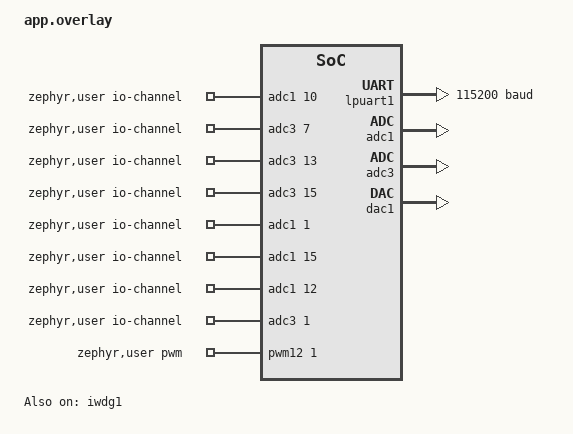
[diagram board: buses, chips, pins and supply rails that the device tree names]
/ {
    aliases {
        watchdog0 = &iwdg1;
    };

    chosen {
        zephyr,console = &lpuart1;
        zephyr,shell-uart = &lpuart1;
        zephyr,crc = &crc;
        zephyr,code-partition = &slot0_partition;
    };

    zephyr,user {
        io-channels =
            <&adc1 10>,  /* 0: PUMP-ADC (ADC1_INP10) */
            <&adc3 7>,   /* 1: FORCE-ADC(1) (ADC3_INP7) */
            <&adc3 13>,  /* 2: FORCE-ADC(2) (ADC3_INP13) */
            <&adc3 15>,  /* 3: FORCE-ADC(3) (ADC3_INP15) */
            <&adc1 1>,   /* 4: TEMP-FD-ADC (ADC1_INP1) */
            <&adc1 15>,  /* 5: TEMP-MB-ADC (ADC1_INP15) */
            <&adc1 12>,  /* 6: ADC1_INP12 */
            <&adc3 1>;   /* 7: ADC3_INP1 */

        dac = <&dac1>;
        dac_channel_id = <0>;     /* 0 => OUT1 in Zephyr STM32 DAC driver */
        dac_resolution = <12>;

        pwms =
            <&pwm12 1 PWM_MSEC(20) PWM_POLARITY_NORMAL>;
    };

};

&iwdg1 {
    status = "okay";
};

&lpuart1 {
    status = "okay";
    current-speed = <115200>;
};


&adc1 {
    status = "okay";
    st,adc-clock-source = "SYNC";
    st,adc-prescaler = <1>;
};

&adc3 {
    status = "okay";
    st,adc-clock-source = "SYNC";
    st,adc-prescaler = <1>;
};

&dac1 {
    status = "okay";
};

/*
 * MCUboot flash partitions (2MB M7 flash @ 0x08000000, SWAP_USING_OFFSET).
 *
 * Remove ranges from flash0 to prevent DT_FIXED_PARTITION_ADDR from
 * double-adding the flash base address (STM32H745 DTS ranges bug).
 *
 * SWAP_USING_OFFSET: first 128KB sector of slot1 is swap scratch;
 * actual image data starts at slot1 offset 0x20000.
 */
&flash0 {
    /delete-property/ ranges;
    reg = <0x08000000 DT_SIZE_K(2048)>;

    partitions {
        compatible = "fixed-partitions";
        #address-cells = <1>;
        #size-cells = <1>;
        ranges;

        boot_partition: partition@0 {
            label = "mcuboot";
            reg = <0x00000000 DT_SIZE_K(128)>;
            read-only;
        };

        slot0_partition: partition@20000 {
            label = "image-0";
            reg = <0x00020000 DT_SIZE_K(512)>;
        };

        slot1_partition: partition@A0000 {
            label = "image-1";
            reg = <0x000A0000 DT_SIZE_K(512)>;
        };

        storage_partition: partition@120000 {
            label = "storage";
            reg = <0x00120000 DT_SIZE_K(128)>;
        };
    };
};
